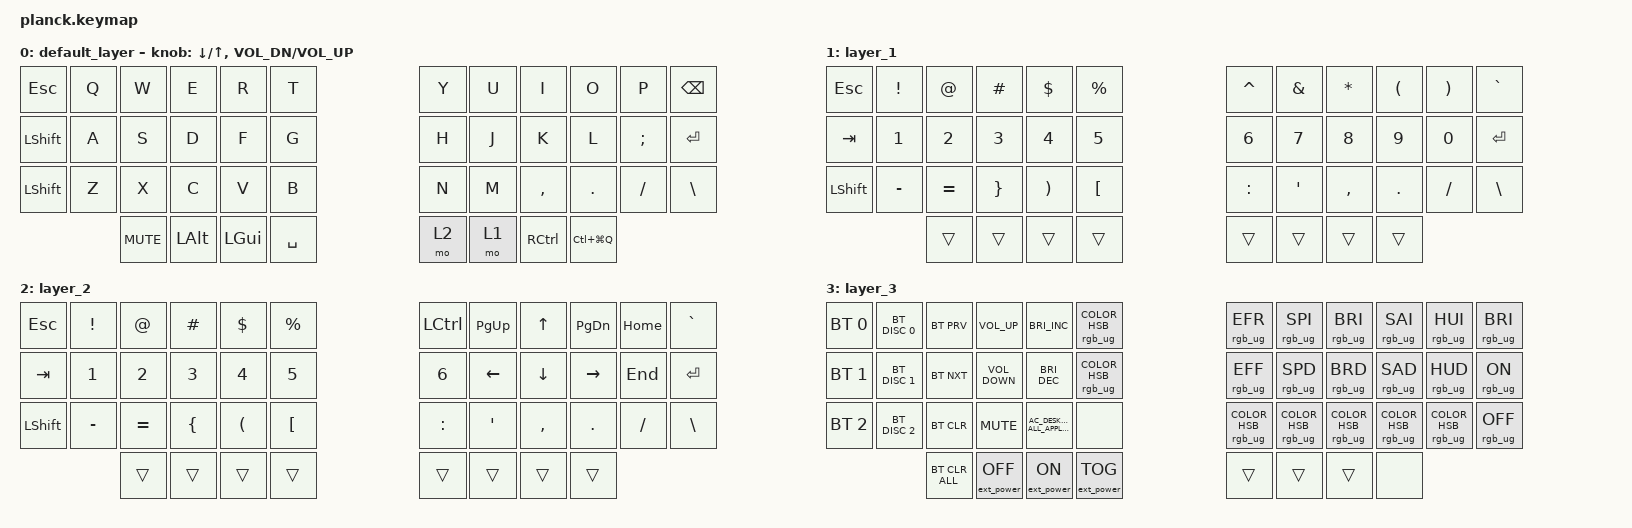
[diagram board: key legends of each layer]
#include <behaviors.dtsi>
#include <dt-bindings/zmk/bt.h>
#include <dt-bindings/zmk/ext_power.h>
#include <dt-bindings/zmk/keys.h>
#include <dt-bindings/zmk/rgb.h>

// / {
//     chosen {
//         zmk,physical-layout = &matrix_physical_layout;
//     };
// };

/ {
    combos {
        compatible = "zmk,combos";

        moBT {
            bindings = <&mo 3>;
            key-positions = <40 41 42>;
        };

        desk_l_up {
            bindings = <&kp LC(UP_ARROW)>;
            key-positions = <3 4>;
        };

        desk_l_left {
            bindings = <&kp RC(LEFT)>;
            key-positions = <14 13>;
        };

        desk_l_right {
            bindings = <&kp LC(RIGHT)>;
            key-positions = <15 16>;
        };

        desk_l_down {
            bindings = <&kp RC(DOWN)>;
            key-positions = <27 28>;
        };

        desk_r_down {
            bindings = <&kp C_AC_NEXT_KEYBOARD_LAYOUT_SELECT>;
            key-positions = <43 42>;
        };
    };

    behaviors {
        bracket: bracket {
            compatible = "zmk,behavior-tap-dance";
            label = "BRACKET";
            #binding-cells = <0>;
            bindings = <&kp LEFT_BRACKET>, <&kp RIGHT_BRACKET>;
        };

        brace: brace {
            compatible = "zmk,behavior-tap-dance";
            label = "BRACE";
            #binding-cells = <0>;
            bindings = <&kp LEFT_BRACE>, <&kp RIGHT_BRACE>;
        };

        parenthesis: parenthesis {
            compatible = "zmk,behavior-tap-dance";
            label = "PARENTHESIS";
            #binding-cells = <0>;
            bindings = <&kp LEFT_PARENTHESIS>, <&kp RIGHT_PARENTHESIS>;
        };
    };

    macros {
        open_chrome: open_chrome {
            compatible = "zmk,behavior-macro";
            #binding-cells = <0>;
            bindings =
                <&kp LG(SPACE)>,
                <&macro_release>,
                <&kp C &kp H &kp R &kp O &kp M &kp E>,
                <&macro_press>;

            label = "OPEN_CHROME";
        };
    };

    keymap {
        compatible = "zmk,keymap";

        default_layer {
            // --------------------------------------------------------------------------------------------------------------------------------------------------------------------
            // |   ESC   |    Q    |    W    |    E    |    R    |    T    |                                          |    Y    |    U    |    I    |    O    |    P    |    \    |
            // |   TAB   |    A    |    S    |    D    |    F    |    G    |                                          |    H    |    J    |    K    |    L    |    ;    |    '    |
            // |  SHIFT  |    Z    |    X    |    C    |    V    |    B    | CTRL+A  | CTRL+C  |  |  CTRL+V |  CTRL+X |    N    |    M    |    ,    |    .    |    /    |  R CTRL |
            //                               |   GUI   |   DEL   | RETURN  |  SPACE  | ESCAPE  |  |  RETURN |  SPACE  |   TAB   |   BSPC  |  R ALT  |

            bindings = <
&kp ESC         &kp Q  &kp W       &kp E     &kp R     &kp T      &kp Y  &kp U  &kp I      &kp O          &kp P     &kp BACKSPACE
&kp LEFT_SHIFT  &kp A  &kp S       &kp D     &kp F     &kp G      &kp H  &kp J  &kp K      &kp L          &kp SEMI  &kp RETURN
&kp LSHFT       &kp Z  &kp X       &kp C     &kp V     &kp B      &kp N  &kp M  &kp COMMA  &kp DOT        &kp FSLH  &kp BSLH
                       &kp K_MUTE  &kp LALT  &kp LGUI  &kp SPACE  &mo 2  &mo 1  &kp RCTRL  &kp LC(LG(Q))
            >;

            sensor-bindings =
                <&inc_dec_kp DOWN UP_ARROW>,
                <&inc_dec_kp C_VOL_DN C_VOL_UP>;
        };

        layer_1 {
            bindings = <
&kp ESC    &kp EXCLAMATION  &kp AT_SIGN  &kp HASH         &kp DOLLAR             &kp PERCENT       &kp CARET  &kp AMPERSAND  &kp ASTERISK  &kp LEFT_PARENTHESIS  &kp RIGHT_PARENTHESIS  &kp GRAVE
&kp TAB    &kp N1           &kp N2       &kp N3           &kp N4                 &kp N5            &kp N6     &kp N7         &kp N8        &kp N9                &kp N0                 &kp RET
&kp LSHFT  &kp MINUS        &kp EQUAL    &kp RIGHT_BRACE  &kp RIGHT_PARENTHESIS  &kp LEFT_BRACKET  &kp COLON  &kp SQT        &kp COMMA     &kp PERIOD            &kp SLASH              &kp BACKSLASH
                            &trans       &trans           &trans                 &trans            &trans     &trans         &trans        &trans
            >;
        };

        layer_2 {
            bindings = <
&kp ESC    &kp EXCLAMATION  &kp AT_SIGN  &kp HASH        &kp DOLLAR            &kp PERCENT       &kp LCTRL  &kp PG_UP  &kp UP     &kp PG_DN  &kp HOME  &kp GRAVE
&kp TAB    &kp N1           &kp N2       &kp N3          &kp N4                &kp N5            &kp N6     &kp LEFT   &kp DOWN   &kp RIGHT  &kp END   &kp RET
&kp LSHFT  &kp MINUS        &kp EQUAL    &kp LEFT_BRACE  &kp LEFT_PARENTHESIS  &kp LEFT_BRACKET  &kp COLON  &kp SQT    &kp COMMA  &kp DOT    &kp FSLH  &kp BSLH
                            &trans       &trans          &trans                &trans            &trans     &trans     &trans     &trans
            >;
        };

        layer_3 {
            bindings = <
&bt BT_SEL 0  &bt BT_DISC 0  &bt BT_PRV      &kp C_VOLUME_UP    &kp C_BRIGHTNESS_INC                    &rgb_ug RGB_COLOR_HSB(277,100,50)  &rgb_ug RGB_EFR                   &rgb_ug RGB_SPI                    &rgb_ug RGB_BRI                 &rgb_ug RGB_SAI                    &rgb_ug RGB_HUI                    &rgb_ug RGB_BRI
&bt BT_SEL 1  &bt BT_DISC 1  &bt BT_NXT      &kp C_VOLUME_DOWN  &kp C_BRIGHTNESS_DEC                    &rgb_ug RGB_COLOR_HSB(0,95,50)     &rgb_ug RGB_EFF                   &rgb_ug RGB_SPD                    &rgb_ug RGB_BRD                 &rgb_ug RGB_SAD                    &rgb_ug RGB_HUD                    &rgb_ug RGB_ON
&bt BT_SEL 2  &bt BT_DISC 2  &bt BT_CLR      &kp K_MUTE         &kp C_AC_DESKTOP_SHOW_ALL_APPLICATIONS  &none                              &rgb_ug RGB_COLOR_HSB(46,100,50)  &rgb_ug RGB_COLOR_HSB(311,100,50)  &rgb_ug RGB_COLOR_HSB(0,0,100)  &rgb_ug RGB_COLOR_HSB(125,100,50)  &rgb_ug RGB_COLOR_HSB(201,100,50)  &rgb_ug RGB_OFF
                             &bt BT_CLR_ALL  &ext_power EP_OFF  &ext_power EP_ON                        &ext_power EP_TOG                  &trans                            &trans                             &trans                          &none
            >;
        };
    };
};
